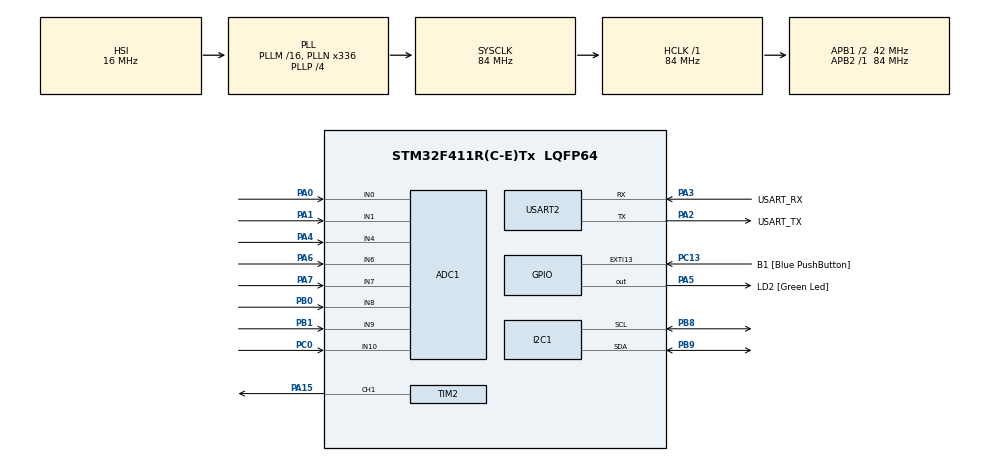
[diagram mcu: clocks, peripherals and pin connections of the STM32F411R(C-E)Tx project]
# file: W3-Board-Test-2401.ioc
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ADC1.Channel-0\#ChannelRegularConversion=ADC_CHANNEL_0
ADC1.Channel-1\#ChannelRegularConversion=ADC_CHANNEL_1
ADC1.Channel-2\#ChannelRegularConversion=ADC_CHANNEL_4
ADC1.ClockPrescaler=ADC_CLOCK_SYNC_PCLK_DIV4
ADC1.ContinuousConvMode=DISABLE
ADC1.DiscontinuousConvMode=DISABLE
ADC1.ExternalTrigConv=ADC_EXTERNALTRIGCONV_T2_TRGO
ADC1.InjNumberOfConversion=0
ADC1.NbrOfConversion=3
ADC1.NbrOfConversionFlag=1
ADC1.Rank-0\#ChannelRegularConversion=1
ADC1.Rank-1\#ChannelRegularConversion=2
ADC1.Rank-2\#ChannelRegularConversion=3
ADC1.SamplingTime-0\#ChannelRegularConversion=ADC_SAMPLETIME_84CYCLES
ADC1.SamplingTime-1\#ChannelRegularConversion=ADC_SAMPLETIME_84CYCLES
ADC1.SamplingTime-2\#ChannelRegularConversion=ADC_SAMPLETIME_84CYCLES
ADC1.ScanConvMode=ENABLE
ADC1.master=1
Mcu.Family=STM32F4
Mcu.Name=STM32F411R(C-E)Tx
Mcu.Package=LQFP64
NVIC.ADC_IRQn=true\:0\:0\:false\:false\:true\:true\:true\:true
NVIC.PriorityGroup=NVIC_PRIORITYGROUP_0
NVIC.TIM2_IRQn=true\:0\:0\:false\:false\:true\:true\:true\:true
PA0-WKUP.Signal=ADCx_IN0
PA1.Signal=ADCx_IN1
PA13.GPIO_Label=TMS
PA13.Mode=Serial_Wire
PA13.Signal=SYS_JTMS-SWDIO
PA14.GPIO_Label=TCK
PA14.Mode=Serial_Wire
PA14.Signal=SYS_JTCK-SWCLK
PA15.Signal=S_TIM2_CH1_ETR
PA2.GPIO_Label=USART_TX
PA2.Mode=Asynchronous
PA2.Signal=USART2_TX
PA3.GPIO_Label=USART_RX
PA3.Mode=Asynchronous
PA3.Signal=USART2_RX
PA4.Signal=ADCx_IN4
PA5.GPIO_Label=LD2 [Green Led]
PA5.Signal=GPIO_Output
PA6.Signal=ADCx_IN6
PA7.Signal=ADCx_IN7
PB0.Signal=ADCx_IN8
PB1.Signal=ADCx_IN9
PB3.GPIO_Label=SWO
PB3.Signal=SYS_JTDO-SWO
PB8.Mode=I2C
PB8.Signal=I2C1_SCL
PB9.Mode=I2C
PB9.Signal=I2C1_SDA
PC0.Signal=ADCx_IN10
PC13-ANTI_TAMP.GPIO_Label=B1 [Blue PushButton]
PC13-ANTI_TAMP.GPIO_ModeDefaultEXTI=GPIO_MODE_IT_FALLING
PC13-ANTI_TAMP.Signal=GPXTI13
PC14-OSC32_IN.Mode=LSE-External-Oscillator
PC14-OSC32_IN.Signal=RCC_OSC32_IN
PC15-OSC32_OUT.Mode=LSE-External-Oscillator
PC15-OSC32_OUT.Signal=RCC_OSC32_OUT
PH0\ -\ OSC_IN.Mode=HSE-External-Clock-Source
PH0\ -\ OSC_IN.Signal=RCC_OSC_IN
PH1\ -\ OSC_OUT.Mode=HSE-External-Clock-Source
PH1\ -\ OSC_OUT.Signal=RCC_OSC_OUT
ProjectManager.HeapSize=0x200
ProjectManager.StackSize=0x400
ProjectManager.TargetToolchain=STM32CubeIDE
RCC.48MHZClocksFreq_Value=84000000
RCC.AHBFreq_Value=84000000
RCC.APB1CLKDivider=RCC_HCLK_DIV2
RCC.APB1Freq_Value=42000000
RCC.APB1TimFreq_Value=84000000
RCC.APB2Freq_Value=84000000
RCC.APB2TimFreq_Value=84000000
RCC.CortexFreq_Value=84000000
RCC.FLatency-AdvancedSettings=FLASH_LATENCY_2
RCC.HCLKFreq_Value=84000000
RCC.HSE_VALUE=8000000
RCC.HSI_VALUE=16000000
RCC.PLLN=336
RCC.PLLP=RCC_PLLP_DIV4
RCC.SYSCLKFreq_VALUE=84000000
RCC.SYSCLKSource=RCC_SYSCLKSOURCE_PLLCLK
RCC.VCOOutputFreq_Value=336000000
SH.ADCx_IN0.0=ADC1_IN0,IN0
SH.ADCx_IN1.0=ADC1_IN1,IN1
SH.ADCx_IN10.0=ADC1_IN10,IN10
SH.ADCx_IN4.0=ADC1_IN4,IN4
SH.ADCx_IN6.0=ADC1_IN6,IN6
SH.ADCx_IN7.0=ADC1_IN7,IN7
SH.ADCx_IN8.0=ADC1_IN8,IN8
SH.ADCx_IN9.0=ADC1_IN9,IN9
SH.S_TIM2_CH1_ETR.0=TIM2_CH1,PWM Generation1 CH1
TIM2.Channel-PWM\ Generation1\ CH1=TIM_CHANNEL_1
TIM2.Period=9999
TIM2.Prescaler=83
TIM2.Pulse-PWM\ Generation1\ CH1=499
TIM2.TIM_MasterOutputTrigger=TIM_TRGO_UPDATE
TIM2.TIM_MasterSlaveMode=TIM_MASTERSLAVEMODE_ENABLE
USART2.VirtualMode=VM_ASYNC
VP_TIM2_VS_ClockSourceINT.Mode=Internal
board=NUCLEO-F411RE

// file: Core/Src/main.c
/* USER CODE BEGIN Header */
/**
  ******************************************************************************
  * @file           : main.c
  * @brief          : Main program body
  ******************************************************************************
  * @attention
  *
  * Copyright (c) 2024 STMicroelectronics.
  * All rights reserved.
  *
  * This software is licensed under terms that can be found in the LICENSE file
  * in the root directory of this software component.
  * If no LICENSE file comes with this software, it is provided AS-IS.
  *
  ******************************************************************************
  */
/* USER CODE END Header */
#include "main.h"

/* USER CODE BEGIN Includes */
#include <stdio.h>
//#include "arm_melody.h"

/* USER CODE END Includes */

/* USER CODE BEGIN PTD */
typedef union {
	uint8_t Bytes[2];
	int16_t Word;
}_TwoBytesS;

/* USER CODE END PTD */

/* USER CODE BEGIN PD */

//#define LM75_ADDR 0x90 // 7-bit address of LM75: left align to MSbit
#define LM75_ADDR 0x48<<1

#define LM75_TEMP 0x00 // Temperature Register of LM75
#define LM75_CONF 0x01 // Configuration Register of LM75
#define LM75_HYST 0x02 //
#define LM75_TOS 0x03 // Over-temp Shutdown threshold Register of LM75
#define LM75_DevID 0x07 // Product ID Register

#define LM75_TEMP_CORR (float)(0.5) //LM75

/* USER CODE END PD */

ADC_HandleTypeDef hadc1;

I2C_HandleTypeDef hi2c1;

TIM_HandleTypeDef htim2;

UART_HandleTypeDef huart2;

/* USER CODE BEGIN PV */

uint16_t adc_value[8];

/* USER CODE END PV */

void SystemClock_Config(void);
static void MX_GPIO_Init(void);
static void MX_USART2_UART_Init(void);
static void MX_ADC1_Init(void);
static void MX_I2C1_Init(void);
static void MX_TIM2_Init(void);
/* USER CODE BEGIN PFP */

float GetTempLM75(I2C_HandleTypeDef *_hi2c);
int adcCount, adcFlag;

/* USER CODE END PFP */

/* USER CODE BEGIN 0 */

#ifdef __GNUC__
/* With GCC, small printf (option LD Linker->Libraries->Small printf
   set to 'Yes') calls __io_putchar() */
#define PUTCHAR_PROTOTYPE int __io_putchar(int ch)
#else
#define PUTCHAR_PROTOTYPE int fputc(int ch, FILE *f)
#endif /* __GNUC__ */

/**
  * @brief  Retargets the C library printf function to the USART.
  * @param  None
  * @retval None
  */

PUTCHAR_PROTOTYPE
{
  /* Place your implementation of fputc here */
  /* e.g. write a character to the USART1 and Loop until the end of transmission */
  if (ch == '\n')
    HAL_UART_Transmit (&huart2, (uint8_t*) "\r", 1, 0xFFFF);
  HAL_UART_Transmit (&huart2, (uint8_t*) &ch, 1, 0xFFFF);

  return ch;

}

/* USER CODE END 0 */

int main(void)
{
  /* USER CODE BEGIN 1 */
	int i,ret;
	float prevTemp, currTemp;

  /* USER CODE END 1 */

  /* MCU Configuration--------------------------------------------------------*/

  /* Reset of all peripherals, Initializes the Flash interface and the Systick. */
  HAL_Init();

  /* Configure the system clock */
  SystemClock_Config();

  /* Initialize all configured peripherals */
  MX_GPIO_Init();
  MX_USART2_UART_Init();
  MX_ADC1_Init();
  MX_I2C1_Init();
  MX_TIM2_Init();
  /* USER CODE BEGIN 2 */

  HAL_TIM_Base_Start_IT(&htim2);
  HAL_ADC_Start_IT(&hadc1);
  adcCount=0;

  /* USER CODE END 2 */

  /* Infinite loop */
  /* USER CODE BEGIN WHILE */

  /*-[ I2C Bus Scanning ]-*/
  HAL_Delay(1000);
  printf("Starting I2C Scanning: \n");
  for( i=1; i<128; i++){
	  ret = HAL_I2C_IsDeviceReady(&hi2c1, (uint16_t)(i<<1), 3, 5);
  	  if (ret != HAL_OK){ /* No ACK Received At That Address */
//	  		  printf(" No Device :[0x%2x]\n ",i );
  	  }else if(ret == HAL_OK) {
  		  printf("=====> Device found @[0x%2x]\n",i);
  	  }
  	  HAL_Delay(10);
  }
  printf("\r\n=== End of Scanning!....====\r\n");
  /*--[ Scanning Done ]--*/

  prevTemp = GetTempLM75(&hi2c1);
  printf("Temperature(LM75): %5.1f \n", prevTemp);

  while (1)
  {

	  // ADC Test Code
//	  HAL_ADC_Start(&hadc1);
//	  HAL_ADC_PollForConversion(&hadc1, HAL_MAX_DELAY);
//	  adc_value[0] = HAL_ADC_GetValue(&hadc1);
//
//	  HAL_ADC_Start(&hadc1);
//	  HAL_ADC_PollForConversion(&hadc1, HAL_MAX_DELAY);
//	  adc_value[1] = HAL_ADC_GetValue(&hadc1);
//
//	  HAL_ADC_Start(&hadc1);
//	  HAL_ADC_PollForConversion(&hadc1, HAL_MAX_DELAY);
//	  adc_value[2] = HAL_ADC_GetValue(&hadc1);
//
//	  HAL_ADC_Start(&hadc1);
//	  HAL_ADC_PollForConversion(&hadc1, HAL_MAX_DELAY);
//	  adc_value[3] = HAL_ADC_GetValue(&hadc1);
//
//	  HAL_ADC_Start(&hadc1);
//	  HAL_ADC_PollForConversion(&hadc1, HAL_MAX_DELAY);
//	  adc_value[4] = HAL_ADC_GetValue(&hadc1);
//
//	  HAL_ADC_Start(&hadc1);
//	  HAL_ADC_PollForConversion(&hadc1, HAL_MAX_DELAY);
//	  adc_value[5] = HAL_ADC_GetValue(&hadc1);
//
//	  HAL_ADC_Start(&hadc1);
//	  HAL_ADC_PollForConversion(&hadc1, HAL_MAX_DELAY);
//	  adc_value[6] = HAL_ADC_GetValue(&hadc1);
//
//	  HAL_ADC_Start(&hadc1);
//	  HAL_ADC_PollForConversion(&hadc1, HAL_MAX_DELAY);
//	  adc_value[7] = HAL_ADC_GetValue(&hadc1);
//
//	  // Serial Printout ADC values...
//	  printf("%d,%d,%d,%d,%d,%d,%d,%d\n", adc_value[0],adc_value[1],adc_value[2],adc_value[3],
//			  	   adc_value[4], adc_value[5], adc_value[6], adc_value[7]);

	  if (adcFlag){
		  printf("%d,%d,%d\n", adc_value[0],adc_value[1],adc_value[2]);
		  adcFlag=0;
	  }

    /* USER CODE END WHILE */

  }
}

void SystemClock_Config(void)
{
  RCC_OscInitTypeDef RCC_OscInitStruct = {0};
  RCC_ClkInitTypeDef RCC_ClkInitStruct = {0};

  /** Configure the main internal regulator output voltage
  */
  __HAL_RCC_PWR_CLK_ENABLE();
  __HAL_PWR_VOLTAGESCALING_CONFIG(PWR_REGULATOR_VOLTAGE_SCALE1);

  /** Initializes the RCC Oscillators according to the specified parameters
  * in the RCC_OscInitTypeDef structure.
  */
  RCC_OscInitStruct.OscillatorType = RCC_OSCILLATORTYPE_HSI;
  RCC_OscInitStruct.HSIState = RCC_HSI_ON;
  RCC_OscInitStruct.HSICalibrationValue = RCC_HSICALIBRATION_DEFAULT;
  RCC_OscInitStruct.PLL.PLLState = RCC_PLL_ON;
  RCC_OscInitStruct.PLL.PLLSource = RCC_PLLSOURCE_HSI;
  RCC_OscInitStruct.PLL.PLLM = 16;
  RCC_OscInitStruct.PLL.PLLN = 336;
  RCC_OscInitStruct.PLL.PLLP = RCC_PLLP_DIV4;
  RCC_OscInitStruct.PLL.PLLQ = 4;
  if (HAL_RCC_OscConfig(&RCC_OscInitStruct) != HAL_OK)
  {
    Error_Handler();
  }

  /** Initializes the CPU, AHB and APB buses clocks
  */
  RCC_ClkInitStruct.ClockType = RCC_CLOCKTYPE_HCLK|RCC_CLOCKTYPE_SYSCLK
                              |RCC_CLOCKTYPE_PCLK1|RCC_CLOCKTYPE_PCLK2;
  RCC_ClkInitStruct.SYSCLKSource = RCC_SYSCLKSOURCE_PLLCLK;
  RCC_ClkInitStruct.AHBCLKDivider = RCC_SYSCLK_DIV1;
  RCC_ClkInitStruct.APB1CLKDivider = RCC_HCLK_DIV2;
  RCC_ClkInitStruct.APB2CLKDivider = RCC_HCLK_DIV1;

  if (HAL_RCC_ClockConfig(&RCC_ClkInitStruct, FLASH_LATENCY_2) != HAL_OK)
  {
    Error_Handler();
  }
}

static void MX_ADC1_Init(void)
{

  ADC_ChannelConfTypeDef sConfig = {0};

  /** Configure the global features of the ADC (Clock, Resolution, Data Alignment and number of conversion)
  */
  hadc1.Instance = ADC1;
  hadc1.Init.ClockPrescaler = ADC_CLOCK_SYNC_PCLK_DIV4;
  hadc1.Init.Resolution = ADC_RESOLUTION_12B;
  hadc1.Init.ScanConvMode = ENABLE;
  hadc1.Init.ContinuousConvMode = DISABLE;
  hadc1.Init.DiscontinuousConvMode = DISABLE;
  hadc1.Init.ExternalTrigConvEdge = ADC_EXTERNALTRIGCONVEDGE_RISING;
  hadc1.Init.ExternalTrigConv = ADC_EXTERNALTRIGCONV_T2_TRGO;
  hadc1.Init.DataAlign = ADC_DATAALIGN_RIGHT;
  hadc1.Init.NbrOfConversion = 3;
  hadc1.Init.DMAContinuousRequests = DISABLE;
  hadc1.Init.EOCSelection = ADC_EOC_SINGLE_CONV;
  if (HAL_ADC_Init(&hadc1) != HAL_OK)
  {
    Error_Handler();
  }

  /** Configure for the selected ADC regular channel its corresponding rank in the sequencer and its sample time.
  */
  sConfig.Channel = ADC_CHANNEL_0;
  sConfig.Rank = 1;
  sConfig.SamplingTime = ADC_SAMPLETIME_84CYCLES;
  if (HAL_ADC_ConfigChannel(&hadc1, &sConfig) != HAL_OK)
  {
    Error_Handler();
  }

  /** Configure for the selected ADC regular channel its corresponding rank in the sequencer and its sample time.
  */
  sConfig.Channel = ADC_CHANNEL_1;
  sConfig.Rank = 2;
  if (HAL_ADC_ConfigChannel(&hadc1, &sConfig) != HAL_OK)
  {
    Error_Handler();
  }

  /** Configure for the selected ADC regular channel its corresponding rank in the sequencer and its sample time.
  */
  sConfig.Channel = ADC_CHANNEL_4;
  sConfig.Rank = 3;
  if (HAL_ADC_ConfigChannel(&hadc1, &sConfig) != HAL_OK)
  {
    Error_Handler();
  }

}

static void MX_I2C1_Init(void)
{

  hi2c1.Instance = I2C1;
  hi2c1.Init.ClockSpeed = 100000;
  hi2c1.Init.DutyCycle = I2C_DUTYCYCLE_2;
  hi2c1.Init.OwnAddress1 = 0;
  hi2c1.Init.AddressingMode = I2C_ADDRESSINGMODE_7BIT;
  hi2c1.Init.DualAddressMode = I2C_DUALADDRESS_DISABLE;
  hi2c1.Init.OwnAddress2 = 0;
  hi2c1.Init.GeneralCallMode = I2C_GENERALCALL_DISABLE;
  hi2c1.Init.NoStretchMode = I2C_NOSTRETCH_DISABLE;
  if (HAL_I2C_Init(&hi2c1) != HAL_OK)
  {
    Error_Handler();
  }

}

static void MX_TIM2_Init(void)
{

  TIM_ClockConfigTypeDef sClockSourceConfig = {0};
  TIM_MasterConfigTypeDef sMasterConfig = {0};
  TIM_OC_InitTypeDef sConfigOC = {0};

  htim2.Instance = TIM2;
  htim2.Init.Prescaler = 83;
  htim2.Init.CounterMode = TIM_COUNTERMODE_UP;
  htim2.Init.Period = 9999;
  htim2.Init.ClockDivision = TIM_CLOCKDIVISION_DIV1;
  htim2.Init.AutoReloadPreload = TIM_AUTORELOAD_PRELOAD_DISABLE;
  if (HAL_TIM_Base_Init(&htim2) != HAL_OK)
  {
    Error_Handler();
  }
  sClockSourceConfig.ClockSource = TIM_CLOCKSOURCE_INTERNAL;
  if (HAL_TIM_ConfigClockSource(&htim2, &sClockSourceConfig) != HAL_OK)
  {
    Error_Handler();
  }
  if (HAL_TIM_PWM_Init(&htim2) != HAL_OK)
  {
    Error_Handler();
  }
  sMasterConfig.MasterOutputTrigger = TIM_TRGO_UPDATE;
  sMasterConfig.MasterSlaveMode = TIM_MASTERSLAVEMODE_ENABLE;
  if (HAL_TIMEx_MasterConfigSynchronization(&htim2, &sMasterConfig) != HAL_OK)
  {
    Error_Handler();
  }
  sConfigOC.OCMode = TIM_OCMODE_PWM1;
  sConfigOC.Pulse = 499;
  sConfigOC.OCPolarity = TIM_OCPOLARITY_HIGH;
  sConfigOC.OCFastMode = TIM_OCFAST_DISABLE;
  if (HAL_TIM_PWM_ConfigChannel(&htim2, &sConfigOC, TIM_CHANNEL_1) != HAL_OK)
  {
    Error_Handler();
  }
  HAL_TIM_MspPostInit(&htim2);

}

static void MX_USART2_UART_Init(void)
{

  huart2.Instance = USART2;
  huart2.Init.BaudRate = 115200;
  huart2.Init.WordLength = UART_WORDLENGTH_8B;
  huart2.Init.StopBits = UART_STOPBITS_1;
  huart2.Init.Parity = UART_PARITY_NONE;
  huart2.Init.Mode = UART_MODE_TX_RX;
  huart2.Init.HwFlowCtl = UART_HWCONTROL_NONE;
  huart2.Init.OverSampling = UART_OVERSAMPLING_16;
  if (HAL_UART_Init(&huart2) != HAL_OK)
  {
    Error_Handler();
  }

}

static void MX_GPIO_Init(void)
{
  GPIO_InitTypeDef GPIO_InitStruct = {0};

  /* GPIO Ports Clock Enable */
  __HAL_RCC_GPIOC_CLK_ENABLE();
  __HAL_RCC_GPIOH_CLK_ENABLE();
  __HAL_RCC_GPIOA_CLK_ENABLE();
  __HAL_RCC_GPIOB_CLK_ENABLE();

  /*Configure GPIO pin Output Level */
  HAL_GPIO_WritePin(LD2_GPIO_Port, LD2_Pin, GPIO_PIN_RESET);

  /*Configure GPIO pin : B1_Pin */
  GPIO_InitStruct.Pin = B1_Pin;
  GPIO_InitStruct.Mode = GPIO_MODE_IT_FALLING;
  GPIO_InitStruct.Pull = GPIO_NOPULL;
  HAL_GPIO_Init(B1_GPIO_Port, &GPIO_InitStruct);

  /*Configure GPIO pin : LD2_Pin */
  GPIO_InitStruct.Pin = LD2_Pin;
  GPIO_InitStruct.Mode = GPIO_MODE_OUTPUT_PP;
  GPIO_InitStruct.Pull = GPIO_NOPULL;
  GPIO_InitStruct.Speed = GPIO_SPEED_FREQ_LOW;
  HAL_GPIO_Init(LD2_GPIO_Port, &GPIO_InitStruct);

}

/* USER CODE BEGIN 4 */

float GetTempLM75(I2C_HandleTypeDef *_hi2c){
	_TwoBytesS Result;
	int16_t Result2;
	float RetRes;
	uint8_t LM75Data[2];

	HAL_I2C_Mem_Read(_hi2c, (uint16_t)LM75_ADDR, (uint16_t)LM75_TEMP, I2C_MEMADD_SIZE_8BIT, LM75Data, 2, 10);

	Result.Bytes[1] = LM75Data[0];
	Result.Bytes[0] = LM75Data[1];
	Result.Word /= 128;

	Result2 = (((int16_t)LM75Data[0] << 8)& 0xFF00) + ((int16_t)LM75Data[1] & 0x00FF) ;
	Result2 /= 128;  // (Result2 >> 7) & 0x80EF;

	RetRes = (float)(Result2 * LM75_TEMP_CORR);
//	RetRes = (float)(Result.Word)* LM75_TEMP_CORR;

	return RetRes;
}

void HAL_ADC_ConvCpltCallback(ADC_HandleTypeDef *hadc)
{
	adc_value[adcCount++] = HAL_ADC_GetValue(&hadc1);
	if( adcCount == 2) adcFlag=1;
	adcCount %= 3;
}

/* USER CODE END 4 */

void Error_Handler(void)
{
  __disable_irq();
  while (1)
  {
  }
}
